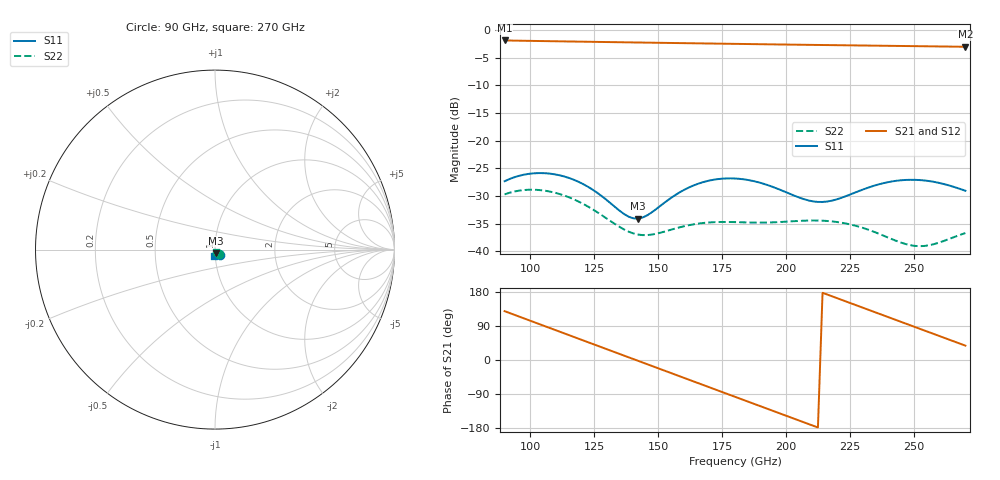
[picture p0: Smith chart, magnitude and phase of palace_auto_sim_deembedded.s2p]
! Created with skrf 1.11.0 (http://scikit-rf.org).
# GHz S DB R 50.0
!freq dBS11 angS11 dBS21 angS21 dBS12 angS12 dBS22 angS22
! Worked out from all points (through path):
!   101 points, 90 GHz to 270 GHz, reference 50 ohm
!   highest |S21| = -1.89 dB at 90 GHz (marker M1); lowest = -3.0 dB at 270 GHz (marker M2)
!   group delay of S21, straight-line fit = 6.96 ps
!   lowest |S11| = -34.1 dB at 142.2 GHz (marker M3), VSWR 1.04, Z = 50.4 - j1.94 ohm
!   |S11| at or under -10 dB: start of sweep to end of sweep
!   |S22| runs from -39.1 to -28.9 dB; largest |S21 - S12| = 8.8e-14
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90  -27.36 -48.9  -1.89 128.9  -1.89 128.9  -29.73 -45.7
97.2  -26.20 -60.3  -1.95 110.8  -1.95 110.8  -28.96 -56.0
104.4  -25.88 -72.7  -2.00 92.7  -2.00 92.7  -28.98 -67.1
111.6  -26.29 -84.9  -2.05 74.5  -2.05 74.5  -29.68 -77.6
120.6  -27.85 -97.7  -2.12 51.9  -2.12 51.9  -31.43 -88.2
131.4  -31.34 -102.4  -2.19 24.8  -2.19 24.8  -34.56 -91.3
142.2  -34.11 -77.6  -2.26 -2.3  -2.26 -2.3  -37.01 -77.2
151.2  -31.68 -58.1  -2.32 -24.9  -2.32 -24.9  -36.62 -63.7
165.6  -27.80 -64.8  -2.42 -61.0  -2.42 -61.0  -35.02 -61.6
172.8  -27.00 -73.7  -2.46 -79.1  -2.46 -79.1  -34.74 -64.3
180  -26.86 -83.0  -2.51 -97.1  -2.51 -97.1  -34.75 -66.8
187.2  -27.32 -91.3  -2.56 -115.1  -2.56 -115.1  -34.83 -68.3
196.2  -28.63 -97.7  -2.61 -137.6  -2.61 -137.6  -34.76 -69.6
203.4  -30.00 -97.1  -2.66 -155.6  -2.66 -155.6  -34.57 -71.9
210.6  -31.01 -90.0  -2.70 -173.6  -2.70 -173.6  -34.45 -76.0
217.8  -30.87 -80.1  -2.74 168.4  -2.74 168.4  -34.61 -81.4
225  -29.75 -74.2  -2.78 150.3  -2.78 150.3  -35.16 -87.0
234  -28.21 -75.1  -2.83 127.8  -2.83 127.8  -36.45 -91.9
241.2  -27.40 -80.0  -2.87 109.8  -2.87 109.8  -37.81 -91.6
248.4  -27.09 -86.3  -2.91 91.8  -2.91 91.8  -38.91 -85.4
255.6  -27.31 -92.4  -2.95 73.8  -2.95 73.8  -38.95 -76.0
270  -29.07 -97.7  -3.04 37.9  -3.04 37.9  -36.72 -72.0
